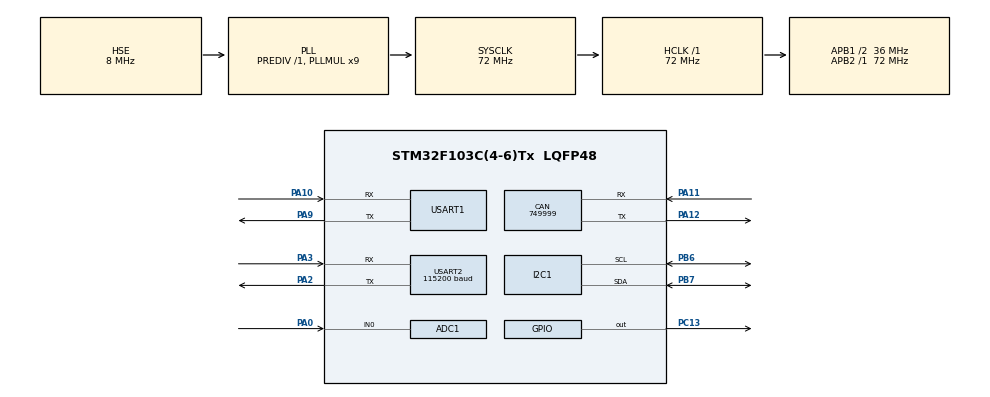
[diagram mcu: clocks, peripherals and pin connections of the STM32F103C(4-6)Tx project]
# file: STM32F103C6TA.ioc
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ADC1.Channel-0\#ChannelRegularConversion=ADC_CHANNEL_0
ADC1.NbrOfConversionFlag=1
ADC1.Rank-0\#ChannelRegularConversion=1
ADC1.SamplingTime-0\#ChannelRegularConversion=ADC_SAMPLETIME_1CYCLE_5
ADC1.master=1
CAN.CalculateBaudRate=749999
CAN.CalculateTimeBit=1333
CAN.CalculateTimeQuantum=444.44444444444446
Mcu.Family=STM32F1
Mcu.Name=STM32F103C(4-6)Tx
Mcu.Package=LQFP48
NVIC.PriorityGroup=NVIC_PRIORITYGROUP_4
NVIC.USART1_IRQn=true\:0\:0\:false\:false\:true\:true\:true\:true
NVIC.USART2_IRQn=true\:0\:0\:false\:false\:true\:true\:true\:true
PA0-WKUP.Signal=ADCx_IN0
PA10.Mode=Asynchronous
PA10.Signal=USART1_RX
PA11.Mode=CAN_Activate
PA11.Signal=CAN_RX
PA12.Mode=CAN_Activate
PA12.Signal=CAN_TX
PA13.Mode=Serial_Wire
PA13.Signal=SYS_JTMS-SWDIO
PA14.Mode=Serial_Wire
PA14.Signal=SYS_JTCK-SWCLK
PA2.Mode=Asynchronous
PA2.Signal=USART2_TX
PA3.Mode=Asynchronous
PA3.Signal=USART2_RX
PA9.Mode=Asynchronous
PA9.Signal=USART1_TX
PB6.Mode=I2C
PB6.Signal=I2C1_SCL
PB7.Mode=I2C
PB7.Signal=I2C1_SDA
PC13-TAMPER-RTC.GPIO_Speed=GPIO_SPEED_FREQ_HIGH
PC13-TAMPER-RTC.PinState=GPIO_PIN_SET
PC13-TAMPER-RTC.Signal=GPIO_Output
PD0-OSC_IN.Mode=HSE-External-Oscillator
PD0-OSC_IN.Signal=RCC_OSC_IN
PD1-OSC_OUT.Mode=HSE-External-Oscillator
PD1-OSC_OUT.Signal=RCC_OSC_OUT
ProjectManager.HeapSize=0x200
ProjectManager.StackSize=0x400
ProjectManager.TargetToolchain=Makefile
RCC.ADCPresc=RCC_ADCPCLK2_DIV6
RCC.AHBFreq_Value=72000000
RCC.APB1CLKDivider=RCC_HCLK_DIV2
RCC.APB1Freq_Value=36000000
RCC.APB1TimFreq_Value=72000000
RCC.APB2Freq_Value=72000000
RCC.APB2TimFreq_Value=72000000
RCC.HCLKFreq_Value=72000000
RCC.PLLMUL=RCC_PLL_MUL9
RCC.PLLSourceVirtual=RCC_PLLSOURCE_HSE
RCC.SYSCLKFreq_VALUE=72000000
RCC.SYSCLKSource=RCC_SYSCLKSOURCE_PLLCLK
RCC.USBFreq_Value=72000000
SH.ADCx_IN0.0=ADC1_IN0,IN0
USART1.VirtualMode=VM_ASYNC
USART2.BaudRate=115200
USART2.VirtualMode=VM_ASYNC
board=custom

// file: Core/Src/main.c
/* USER CODE BEGIN Header */
/**
  ******************************************************************************
  * @file           : main.c
  * @brief          : Main program body
  ******************************************************************************
  * @attention
  *
  * Copyright (c) 2023 STMicroelectronics.
  * All rights reserved.
  *
  * This software is licensed under terms that can be found in the LICENSE file
  * in the root directory of this software component.
  * If no LICENSE file comes with this software, it is provided AS-IS.
  *
  ******************************************************************************
  */
/* USER CODE END Header */
#include "main.h"

/* USER CODE BEGIN Includes */
#include "sgp30.h"
#include "am2320.h"
#include "esp01.h"
/* USER CODE END Includes */

ADC_HandleTypeDef hadc1;

CAN_HandleTypeDef hcan;

I2C_HandleTypeDef hi2c1;

UART_HandleTypeDef huart1;
UART_HandleTypeDef huart2;

void SystemClock_Config(void);
static void MX_GPIO_Init(void);
static void MX_ADC1_Init(void);
static void MX_I2C1_Init(void);
static void MX_USART1_UART_Init(void);
static void MX_USART2_UART_Init(void);
static void MX_CAN_Init(void);

int main(void)
{
  /* USER CODE BEGIN 1 */
  char sgp30_buffer[50];
  char am2320_buffer[50];
  char sensor_buffer[100];
  /* USER CODE END 1 */

  /* MCU Configuration--------------------------------------------------------*/

  /* Reset of all peripherals, Initializes the Flash interface and the Systick. */
  HAL_Init();

  /* Configure the system clock */
  SystemClock_Config();

  /* Initialize all configured peripherals */
  MX_GPIO_Init();
  MX_ADC1_Init();
  MX_I2C1_Init();
  MX_USART1_UART_Init();
  MX_USART2_UART_Init();
  MX_CAN_Init();
  /* USER CODE BEGIN 2 */

  // Reset module
  resetESP01();

  // Connect to Wi-Fi
  connectWifi("SSID", "Passwd");
  HAL_Delay(2500);

  checkIPAddr();

  HAL_Delay(500);

  // initialize SGP30 to air quality
  if(initSGP30(&hi2c1)!=0){
    sprintf(sgp30_buffer, "Error! Failed to initialize SGP30.");
    HAL_UART_Transmit(&huart2, (uint8_t*)sgp30_buffer, strlen(sgp30_buffer), 1000);
  }

  /* USER CODE END 2 */

  /* Infinite loop */
  while (1)
  {

    /* USER CODE BEGIN 3 */

    // read and print temp and humidity
    float temp, humidity;
    uint8_t am2320_status = getAM2320Data(&hi2c1, &temp, &humidity);
    if(am2320_status == 0){
      sprintf(sgp30_buffer, "Temperature: %.2f°C\nHumidity: %.2f%%", temp, humidity);
    }
    else if(am2320_status == 1){
      sprintf(sgp30_buffer, "Error! Couldn't transmit to AM2320. \n");
    }
    else{
      sprintf(sgp30_buffer, "Error! Couldn't read from AM2320. \n");
    }

    // HAL_UART_Transmit(&huart2, (uint8_t*)sgp30_buffer, strlen(sgp30_buffer), 1000);

    HAL_Delay(200);

    // read and print co2 and tvoc
    uint16_t co2, tvoc;
    uint8_t sgp30_status = getSGP30Data(&hi2c1, &co2, &tvoc);

    if(sgp30_status == 0){
      sprintf(am2320_buffer, "CO2: %i ppm\nTVOC: %i ppb", co2,tvoc);
    }
    else if(sgp30_status == 1){
      sprintf(am2320_buffer, "Error! Couldn't transmit to SGP30. \n");
    }
    else{
      sprintf(am2320_buffer, "Error! Couldn't read from SGP30. \n");
    }

    // HAL_UART_Transmit(&huart2, (uint8_t*)am2320_buffer, strlen(am2320_buffer), 1000);

    sprintf(sensor_buffer, "%s\n%s", sgp30_buffer, am2320_buffer);
    HAL_UART_Transmit(&huart2, (uint8_t*)sensor_buffer, strlen(sensor_buffer), 1000);

    // checkAT();

    HAL_Delay(5000);
  }
  /* USER CODE END 3 */
}

void SystemClock_Config(void)
{
  RCC_OscInitTypeDef RCC_OscInitStruct = {0};
  RCC_ClkInitTypeDef RCC_ClkInitStruct = {0};
  RCC_PeriphCLKInitTypeDef PeriphClkInit = {0};

  /** Initializes the RCC Oscillators according to the specified parameters
  * in the RCC_OscInitTypeDef structure.
  */
  RCC_OscInitStruct.OscillatorType = RCC_OSCILLATORTYPE_HSE;
  RCC_OscInitStruct.HSEState = RCC_HSE_ON;
  RCC_OscInitStruct.HSEPredivValue = RCC_HSE_PREDIV_DIV1;
  RCC_OscInitStruct.HSIState = RCC_HSI_ON;
  RCC_OscInitStruct.PLL.PLLState = RCC_PLL_ON;
  RCC_OscInitStruct.PLL.PLLSource = RCC_PLLSOURCE_HSE;
  RCC_OscInitStruct.PLL.PLLMUL = RCC_PLL_MUL9;
  if (HAL_RCC_OscConfig(&RCC_OscInitStruct) != HAL_OK)
  {
    Error_Handler();
  }

  /** Initializes the CPU, AHB and APB buses clocks
  */
  RCC_ClkInitStruct.ClockType = RCC_CLOCKTYPE_HCLK|RCC_CLOCKTYPE_SYSCLK
                              |RCC_CLOCKTYPE_PCLK1|RCC_CLOCKTYPE_PCLK2;
  RCC_ClkInitStruct.SYSCLKSource = RCC_SYSCLKSOURCE_PLLCLK;
  RCC_ClkInitStruct.AHBCLKDivider = RCC_SYSCLK_DIV1;
  RCC_ClkInitStruct.APB1CLKDivider = RCC_HCLK_DIV2;
  RCC_ClkInitStruct.APB2CLKDivider = RCC_HCLK_DIV1;

  if (HAL_RCC_ClockConfig(&RCC_ClkInitStruct, FLASH_LATENCY_2) != HAL_OK)
  {
    Error_Handler();
  }
  PeriphClkInit.PeriphClockSelection = RCC_PERIPHCLK_ADC;
  PeriphClkInit.AdcClockSelection = RCC_ADCPCLK2_DIV6;
  if (HAL_RCCEx_PeriphCLKConfig(&PeriphClkInit) != HAL_OK)
  {
    Error_Handler();
  }
}

static void MX_ADC1_Init(void)
{

  ADC_ChannelConfTypeDef sConfig = {0};

  /** Common config
  */
  hadc1.Instance = ADC1;
  hadc1.Init.ScanConvMode = ADC_SCAN_DISABLE;
  hadc1.Init.ContinuousConvMode = DISABLE;
  hadc1.Init.DiscontinuousConvMode = DISABLE;
  hadc1.Init.ExternalTrigConv = ADC_SOFTWARE_START;
  hadc1.Init.DataAlign = ADC_DATAALIGN_RIGHT;
  hadc1.Init.NbrOfConversion = 1;
  if (HAL_ADC_Init(&hadc1) != HAL_OK)
  {
    Error_Handler();
  }

  /** Configure Regular Channel
  */
  sConfig.Channel = ADC_CHANNEL_0;
  sConfig.Rank = ADC_REGULAR_RANK_1;
  sConfig.SamplingTime = ADC_SAMPLETIME_1CYCLE_5;
  if (HAL_ADC_ConfigChannel(&hadc1, &sConfig) != HAL_OK)
  {
    Error_Handler();
  }

}

static void MX_CAN_Init(void)
{

  hcan.Instance = CAN1;
  hcan.Init.Prescaler = 16;
  hcan.Init.Mode = CAN_MODE_NORMAL;
  hcan.Init.SyncJumpWidth = CAN_SJW_1TQ;
  hcan.Init.TimeSeg1 = CAN_BS1_1TQ;
  hcan.Init.TimeSeg2 = CAN_BS2_1TQ;
  hcan.Init.TimeTriggeredMode = DISABLE;
  hcan.Init.AutoBusOff = DISABLE;
  hcan.Init.AutoWakeUp = DISABLE;
  hcan.Init.AutoRetransmission = DISABLE;
  hcan.Init.ReceiveFifoLocked = DISABLE;
  hcan.Init.TransmitFifoPriority = DISABLE;
  if (HAL_CAN_Init(&hcan) != HAL_OK)
  {
    Error_Handler();
  }

}

static void MX_I2C1_Init(void)
{

  hi2c1.Instance = I2C1;
  hi2c1.Init.ClockSpeed = 100000;
  hi2c1.Init.DutyCycle = I2C_DUTYCYCLE_2;
  hi2c1.Init.OwnAddress1 = 0;
  hi2c1.Init.AddressingMode = I2C_ADDRESSINGMODE_7BIT;
  hi2c1.Init.DualAddressMode = I2C_DUALADDRESS_DISABLE;
  hi2c1.Init.OwnAddress2 = 0;
  hi2c1.Init.GeneralCallMode = I2C_GENERALCALL_DISABLE;
  hi2c1.Init.NoStretchMode = I2C_NOSTRETCH_DISABLE;
  if (HAL_I2C_Init(&hi2c1) != HAL_OK)
  {
    Error_Handler();
  }

}

static void MX_USART1_UART_Init(void)
{

  huart1.Instance = USART1;
  huart1.Init.BaudRate = 115200;
  huart1.Init.WordLength = UART_WORDLENGTH_8B;
  huart1.Init.StopBits = UART_STOPBITS_1;
  huart1.Init.Parity = UART_PARITY_NONE;
  huart1.Init.Mode = UART_MODE_TX_RX;
  huart1.Init.HwFlowCtl = UART_HWCONTROL_NONE;
  huart1.Init.OverSampling = UART_OVERSAMPLING_16;
  if (HAL_UART_Init(&huart1) != HAL_OK)
  {
    Error_Handler();
  }
  /* USER CODE BEGIN USART1_Init 2 */
  HAL_UART_MspInit(&huart1);
  HAL_UART_Receive_IT(&huart1, (uint8_t *)&single_buffer, 1);
  /* USER CODE END USART1_Init 2 */

}

static void MX_USART2_UART_Init(void)
{

  huart2.Instance = USART2;
  huart2.Init.BaudRate = 115200;
  huart2.Init.WordLength = UART_WORDLENGTH_8B;
  huart2.Init.StopBits = UART_STOPBITS_1;
  huart2.Init.Parity = UART_PARITY_NONE;
  huart2.Init.Mode = UART_MODE_TX_RX;
  huart2.Init.HwFlowCtl = UART_HWCONTROL_NONE;
  huart2.Init.OverSampling = UART_OVERSAMPLING_16;
  if (HAL_UART_Init(&huart2) != HAL_OK)
  {
    Error_Handler();
  }

}

static void MX_GPIO_Init(void)
{
  GPIO_InitTypeDef GPIO_InitStruct = {0};

  /* GPIO Ports Clock Enable */
  __HAL_RCC_GPIOC_CLK_ENABLE();
  __HAL_RCC_GPIOD_CLK_ENABLE();
  __HAL_RCC_GPIOA_CLK_ENABLE();
  __HAL_RCC_GPIOB_CLK_ENABLE();

  /*Configure GPIO pin Output Level */
  HAL_GPIO_WritePin(GPIOC, GPIO_PIN_13, GPIO_PIN_SET);

  /*Configure GPIO pin : PC13 */
  GPIO_InitStruct.Pin = GPIO_PIN_13;
  GPIO_InitStruct.Mode = GPIO_MODE_OUTPUT_PP;
  GPIO_InitStruct.Pull = GPIO_NOPULL;
  GPIO_InitStruct.Speed = GPIO_SPEED_FREQ_HIGH;
  HAL_GPIO_Init(GPIOC, &GPIO_InitStruct);

}

void Error_Handler(void)
{
  __disable_irq();
  while (1)
  {
  }
}
